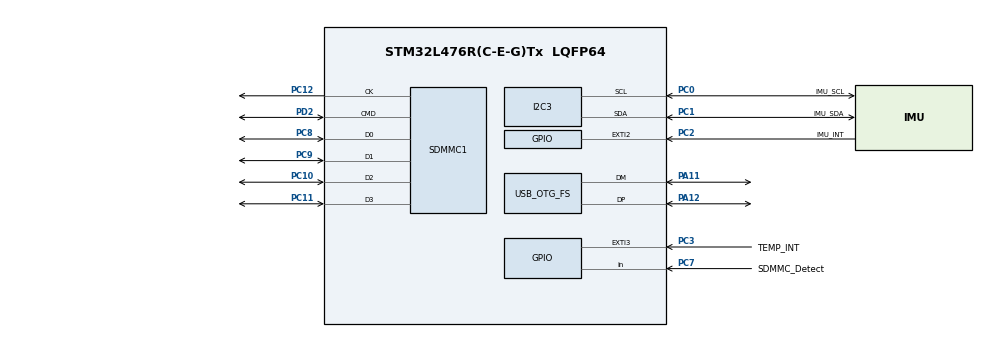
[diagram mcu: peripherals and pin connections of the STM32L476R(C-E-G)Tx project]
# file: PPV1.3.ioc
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Dma.Request0=SDMMC1
Dma.SDMMC1.0.Direction=DMA_PERIPH_TO_MEMORY
Dma.SDMMC1.0.Instance=DMA2_Channel4
Dma.SDMMC1.0.MemDataAlignment=DMA_MDATAALIGN_WORD
Dma.SDMMC1.0.MemInc=DMA_MINC_ENABLE
Dma.SDMMC1.0.Mode=DMA_NORMAL
Dma.SDMMC1.0.PeriphDataAlignment=DMA_PDATAALIGN_WORD
Dma.SDMMC1.0.PeriphInc=DMA_PINC_DISABLE
Dma.SDMMC1.0.Priority=DMA_PRIORITY_HIGH
FATFS.BSP.number=1
FATFS.USE_DMA_CODE_SD=1
FATFS0.BSP.STBoard=false
FATFS0.BSP.api=Unknown
FATFS0.BSP.instance=PC7
FATFS0.BSP.ip=GPIO
FATFS0.BSP.mode=Input
FATFS0.BSP.name=Detect_SDIO
FATFS0.BSP.solution=PC7
I2C3.CustomTiming=Disabled
I2C3.Timing=0x20303E5D
Mcu.Family=STM32L4
Mcu.Name=STM32L476R(C-E-G)Tx
Mcu.Package=LQFP64
NVIC.DMA2_Channel4_IRQn=true\:0\:0\:false\:false\:true\:false\:true\:true
NVIC.EXTI2_IRQn=true\:0\:0\:false\:false\:true\:true\:true\:true
NVIC.EXTI3_IRQn=true\:0\:0\:false\:false\:true\:true\:true\:true
NVIC.OTG_FS_IRQn=true\:0\:0\:false\:false\:true\:false\:true\:true
NVIC.PriorityGroup=NVIC_PRIORITYGROUP_4
NVIC.SDMMC1_IRQn=true\:0\:0\:false\:false\:true\:true\:true\:true
PA11.Mode=Device_Only
PA11.Signal=USB_OTG_FS_DM
PA12.Mode=Device_Only
PA12.Signal=USB_OTG_FS_DP
PA13\ (JTMS-SWDIO).Mode=Serial_Wire
PA13\ (JTMS-SWDIO).Signal=SYS_JTMS-SWDIO
PA14\ (JTCK-SWCLK).Mode=Serial_Wire
PA14\ (JTCK-SWCLK).Signal=SYS_JTCK-SWCLK
PC0.GPIO_Label=IMU_SCL
PC0.Mode=I2C
PC0.Signal=I2C3_SCL
PC1.GPIO_Label=IMU_SDA
PC1.Mode=I2C
PC1.Signal=I2C3_SDA
PC10.Mode=SD_4_bits_Wide_bus
PC10.Signal=SDMMC1_D2
PC11.Mode=SD_4_bits_Wide_bus
PC11.Signal=SDMMC1_D3
PC12.Mode=SD_4_bits_Wide_bus
PC12.Signal=SDMMC1_CK
PC2.GPIO_Label=IMU_INT
PC2.GPIO_PuPd=GPIO_NOPULL
PC2.Signal=GPXTI2
PC3.GPIO_Label=TEMP_INT
PC3.GPIO_ModeDefaultEXTI=GPIO_MODE_IT_FALLING
PC3.Signal=GPXTI3
PC7.GPIO_Label=SDMMC_Detect
PC7.GPIO_PuPd=GPIO_PULLDOWN
PC7.Signal=GPIO_Input
PC8.GPIO_PuPd=GPIO_NOPULL
PC8.Mode=SD_4_bits_Wide_bus
PC8.Signal=SDMMC1_D0
PC9.Mode=SD_4_bits_Wide_bus
PC9.Signal=SDMMC1_D1
PD2.GPIO_PuPd=GPIO_NOPULL
PD2.Mode=SD_4_bits_Wide_bus
PD2.Signal=SDMMC1_CMD
PH0-OSC_IN\ (PH0).Mode=HSE-External-Oscillator
PH0-OSC_IN\ (PH0).Signal=RCC_OSC_IN
PH1-OSC_OUT\ (PH1).Mode=HSE-External-Oscillator
PH1-OSC_OUT\ (PH1).Signal=RCC_OSC_OUT
ProjectManager.HeapSize=0x400
ProjectManager.StackSize=0x800
ProjectManager.TargetToolchain=STM32CubeIDE
RCC.ADCFreq_Value=48000000
RCC.AHBFreq_Value=48000000
RCC.APB1Freq_Value=48000000
RCC.APB1TimFreq_Value=48000000
RCC.APB2Freq_Value=48000000
RCC.APB2TimFreq_Value=48000000
RCC.CK48CLockSelection=RCC_USBCLKSOURCE_PLL
RCC.CortexFreq_Value=48000000
RCC.HCLKFreq_Value=48000000
RCC.HSE_VALUE=12000000
RCC.HSI_VALUE=16000000
RCC.LSE_VALUE=32768
RCC.MSI_VALUE=4000000
RCC.PLLSourceVirtual=RCC_PLLSOURCE_HSE
RCC.SYSCLKFreq_VALUE=48000000
RCC.SYSCLKSource=RCC_SYSCLKSOURCE_PLLCLK
RCC.USBFreq_Value=48000000
RCC.VCOOutputFreq_Value=96000000
RTC.Format=RTC_FORMAT_BIN
SDMMC1.ClockDiv=1
USB_DEVICE.CLASS_NAME_FS=CDC
USB_DEVICE.PRODUCT_STRING_CDC_FS=PawPrint Sensor
USB_DEVICE.VirtualMode=Cdc
USB_DEVICE.VirtualModeFS=Cdc_FS
USB_OTG_FS.VirtualMode=Device_Only
VP_FATFS_VS_SDIO.Mode=SDIO
VP_RTC_VS_RTC_Activate.Mode=RTC_Enabled
VP_RTC_VS_RTC_Calendar.Mode=RTC_Calendar
VP_USB_DEVICE_VS_USB_DEVICE_CDC_FS.Mode=CDC_FS
board=custom

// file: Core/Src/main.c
/* USER CODE BEGIN Header */
/**
  ******************************************************************************
  * @file           : main.c
  * @brief          : Main program body
  ******************************************************************************
  * @attention
  *
  * Copyright (c) 2023 STMicroelectronics.
  * All rights reserved.
  *
  * This software is licensed under terms that can be found in the LICENSE file
  * in the root directory of this software component.
  * If no LICENSE file comes with this software, it is provided AS-IS.
  *
  ******************************************************************************
  */
/* USER CODE END Header */
#include "main.h"
#include "fatfs.h"
#include "usb_device.h"

/* USER CODE BEGIN Includes */
#include "usbd_cdc_if.h"
#include "stdalign.h"
#include "string.h"
#include "lsm6dso.h"
#include "lis2mdl.h"
#include "stts751.h"
#include "pawprint.h"
/* USER CODE END Includes */

I2C_HandleTypeDef hi2c3;

RTC_HandleTypeDef hrtc;

SD_HandleTypeDef hsd1;
DMA_HandleTypeDef hdma_sdmmc1;

/* USER CODE BEGIN PV */
uint8_t LSM6DSO_FIFO_RDY;
uint8_t OVERTEMP;

static volatile char buffer[40000];
//static char writeBuff[32000];
//static char tempBuff[8000];
static int writeIndex = 0;
static int maxoutLength = 0;
static int tag_counter = 0;
static sensor_out FIFOout = {0};
unsigned int byteCount = 0;
unsigned int writeNum = 0;

FRESULT mountStatus;
FRESULT volMakeStatus;
FRESULT fileCreateStatus;
uint8_t rtext[_MAX_SS];
/* USER CODE END PV */

void SystemClock_Config(void);
static void MX_GPIO_Init(void);
static void MX_DMA_Init(void);
static void MX_I2C3_Init(void);
static void MX_SDMMC1_SD_Init(void);
static void MX_RTC_Init(void);

/* USER CODE BEGIN 0 */
uint8_t inBuff[64];

void HAL_GPIO_EXTI_Callback(uint16_t GPIO_Pin){

//	// Over Temp gets priority
//	if (GPIO_Pin == TEMP_INT_Pin){
//
//		OVERTEMP = 1;
//
//		// Reset All Tags / Emergency shut down
//
//	}
//	else if (GPIO_Pin == IMU_INT_Pin){
//
//		LSM6DSO_FIFO_RDY = 1;
//
//	}
}

/* USER CODE END 0 */

int main(void)
{

  /* MCU Configuration--------------------------------------------------------*/

  /* Reset of all peripherals, Initializes the Flash interface and the Systick. */
  HAL_Init();

  /* Configure the system clock */
  SystemClock_Config();

  /* Initialize all configured peripherals */
  MX_GPIO_Init();
  MX_DMA_Init();
  MX_I2C3_Init();
  MX_SDMMC1_SD_Init();
  MX_USB_DEVICE_Init();
  MX_RTC_Init();
  MX_FATFS_Init();

  /* USER CODE BEGIN 2 */
  int attempts = 0;
  mountStatus = f_mount(&SDFatFS, (TCHAR const*)SDPath, 1);
  while ( mountStatus != FR_OK && attempts < 3){
	  mountStatus = f_mount(&SDFatFS, (TCHAR const*)SDPath, 1);
  }

 HAL_Delay(500);

  volMakeStatus = f_mkfs((TCHAR const*)SDPath, FM_ANY, 0, rtext, sizeof(rtext));
  if ( volMakeStatus != FR_OK){
	  Error_Handler();
  }
  HAL_Delay(500);

  fileCreateStatus = f_open(&SDFile, "Out.csv", FA_CREATE_ALWAYS | FA_WRITE);
  if ( fileCreateStatus != FR_OK){
	  Error_Handler();
  }

  maxoutLength = snprintf((char *) &buffer[writeIndex],40000-writeIndex ,"TimeStamp,XL_X,XL_Y,XL_Z,GYR_X,GYR_Y,GYR_Z,MAG_X,MAG_Y,MAG_Z\n");
  writeIndex += maxoutLength;

  //f_printf(&SDFile,"TimeStamp,XL_X,XL_Y,XL_Z,GYR_X,GYR_Y,GYR_Z,MAG_X,MAG_Y,MAG_Z\n");
  //f_sync( &SDFile );
  //f_close(&SDFile);
  //f_open(&SDFile, "Out.csv", FA_OPEN_APPEND | FA_WRITE);

  /* Search for connection via USB */
  /* Once Received proceed to init and data collection */

  // Initialise Sensor
  pawprint_init(&hi2c3);

  LSM6DSO_FIFO_RDY = 0;
  /* USER CODE END 2 */

  /* Infinite loop */
  while (1)
  {

    /* USER CODE BEGIN 3 */

	  if ( OVERTEMP == 1){
		  HAL_PWREx_EnterSHUTDOWNMode(); // Future iterations should have physical control here - skip MCU and cut power from battery with Temp_INT
	  }

	  pawprint_readFIFO(&hi2c3, (char *) buffer, &writeIndex, &maxoutLength, &tag_counter, &FIFOout); // Combine some features input here into structs for simplicity

	  // Check buffer fill
	  if (writeIndex >= 32768){

		 // memset(writeBuff, '\0', (size_t) 32000);
		//  memcpy(writeBuff, (char *)&buffer, (size_t) 32000);

		 // f_write(&SDFile, writeBuff, (size_t) 32000, &byteCount);

		  f_write(&SDFile, (char *)&buffer, (size_t) 32768, &byteCount);

		  // Copy end of buffer to beginning and clear
		  //memcpy(tempBuff,(char *) &buffer[32000],(size_t) 8000);
		  //memset((char *) &buffer[0], '\0', sizeof(buffer));
		  //memcpy((char *) &buffer, tempBuff,(size_t) 8000);
		  //memset(&tempBuff[0], '\0', sizeof(tempBuff));
		  size_t overBuff = strlen((char *) &buffer[32768]);
		  memcpy((char *) &buffer[0],(char *) &buffer[32768], overBuff);
		  memset((char *) &buffer[overBuff], '\0', sizeof(buffer)-overBuff);
		  // Set writeIndex to remainder length
		  writeIndex -= byteCount;
		  writeNum++;

		  // fsync every ~1MB to ensure SD buffer is being written
		  if( writeNum >= 3){

			  f_close(&SDFile);
			  f_open(&SDFile, "Out.csv", FA_OPEN_APPEND | FA_WRITE);

			 //f_sync(&SDFile);

			 writeNum = 0;
		  }

		  // fclose needs adding when time functionality added

	  }

  }

	  /* USER CODE END 3 */
	}

	/**
	  * @brief System Clock Configuration
	  * @retval None
	  */
	void SystemClock_Config(void)
	{
	  RCC_OscInitTypeDef RCC_OscInitStruct = {0};
	  RCC_ClkInitTypeDef RCC_ClkInitStruct = {0};

	  /** Configure the main internal regulator output voltage
	  */
	  if (HAL_PWREx_ControlVoltageScaling(PWR_REGULATOR_VOLTAGE_SCALE1) != HAL_OK)
	  {
	    Error_Handler();
	  }

	  /** Initializes the RCC Oscillators according to the specified parameters
	  * in the RCC_OscInitTypeDef structure.
	  */
	  RCC_OscInitStruct.OscillatorType = RCC_OSCILLATORTYPE_LSI|RCC_OSCILLATORTYPE_HSE;
	  RCC_OscInitStruct.HSEState = RCC_HSE_ON;
	  RCC_OscInitStruct.LSIState = RCC_LSI_ON;
	  RCC_OscInitStruct.PLL.PLLState = RCC_PLL_ON;
	  RCC_OscInitStruct.PLL.PLLSource = RCC_PLLSOURCE_HSE;
	  RCC_OscInitStruct.PLL.PLLM = 1;
	  RCC_OscInitStruct.PLL.PLLN = 8;
	  RCC_OscInitStruct.PLL.PLLP = RCC_PLLP_DIV7;
	  RCC_OscInitStruct.PLL.PLLQ = RCC_PLLQ_DIV2;
	  RCC_OscInitStruct.PLL.PLLR = RCC_PLLR_DIV2;
	  if (HAL_RCC_OscConfig(&RCC_OscInitStruct) != HAL_OK)
	  {
	    Error_Handler();
	  }

	  /** Initializes the CPU, AHB and APB buses clocks
	  */
	  RCC_ClkInitStruct.ClockType = RCC_CLOCKTYPE_HCLK|RCC_CLOCKTYPE_SYSCLK
	                              |RCC_CLOCKTYPE_PCLK1|RCC_CLOCKTYPE_PCLK2;
	  RCC_ClkInitStruct.SYSCLKSource = RCC_SYSCLKSOURCE_PLLCLK;
	  RCC_ClkInitStruct.AHBCLKDivider = RCC_SYSCLK_DIV1;
	  RCC_ClkInitStruct.APB1CLKDivider = RCC_HCLK_DIV1;
	  RCC_ClkInitStruct.APB2CLKDivider = RCC_HCLK_DIV1;

	  if (HAL_RCC_ClockConfig(&RCC_ClkInitStruct, FLASH_LATENCY_2) != HAL_OK)
	  {
	    Error_Handler();
	  }
	}

	/**
	  * @brief I2C3 Initialization Function
	  * @param None
	  * @retval None
	  */
	static void MX_I2C3_Init(void)
	{

	  hi2c3.Instance = I2C3;
	  hi2c3.Init.Timing = 0x20303E5D;
	  hi2c3.Init.OwnAddress1 = 0;
	  hi2c3.Init.AddressingMode = I2C_ADDRESSINGMODE_7BIT;
	  hi2c3.Init.DualAddressMode = I2C_DUALADDRESS_DISABLE;
	  hi2c3.Init.OwnAddress2 = 0;
	  hi2c3.Init.OwnAddress2Masks = I2C_OA2_NOMASK;
	  hi2c3.Init.GeneralCallMode = I2C_GENERALCALL_DISABLE;
	  hi2c3.Init.NoStretchMode = I2C_NOSTRETCH_DISABLE;
	  if (HAL_I2C_Init(&hi2c3) != HAL_OK)
	  {
	    Error_Handler();
	  }

	  /** Configure Analogue filter
	  */
	  if (HAL_I2CEx_ConfigAnalogFilter(&hi2c3, I2C_ANALOGFILTER_ENABLE) != HAL_OK)
	  {
	    Error_Handler();
	  }

	  /** Configure Digital filter
	  */
	  if (HAL_I2CEx_ConfigDigitalFilter(&hi2c3, 0) != HAL_OK)
	  {
	    Error_Handler();
	  }

	}

	/**
	  * @brief RTC Initialization Function
	  * @param None
	  * @retval None
	  */
	static void MX_RTC_Init(void)
	{

	  RTC_TimeTypeDef sTime = {0};
	  RTC_DateTypeDef sDate = {0};

	  /** Initialize RTC Only
	  */
	  hrtc.Instance = RTC;
	  hrtc.Init.HourFormat = RTC_HOURFORMAT_24;
	  hrtc.Init.AsynchPrediv = 127;
	  hrtc.Init.SynchPrediv = 255;
	  hrtc.Init.OutPut = RTC_OUTPUT_DISABLE;
	  hrtc.Init.OutPutRemap = RTC_OUTPUT_REMAP_NONE;
	  hrtc.Init.OutPutPolarity = RTC_OUTPUT_POLARITY_HIGH;
	  hrtc.Init.OutPutType = RTC_OUTPUT_TYPE_OPENDRAIN;
	  if (HAL_RTC_Init(&hrtc) != HAL_OK)
	  {
	    Error_Handler();
	  }

	  /** Initialize RTC and set the Time and Date
	  */
	  sTime.Hours = 0;
	  sTime.Minutes = 0;
	  sTime.Seconds = 0;
	  sTime.DayLightSaving = RTC_DAYLIGHTSAVING_NONE;
	  sTime.StoreOperation = RTC_STOREOPERATION_RESET;
	  if (HAL_RTC_SetTime(&hrtc, &sTime, RTC_FORMAT_BIN) != HAL_OK)
	  {
	    Error_Handler();
	  }
	  sDate.WeekDay = RTC_WEEKDAY_MONDAY;
	  sDate.Month = RTC_MONTH_JANUARY;
	  sDate.Date = 1;
	  sDate.Year = 0;

	  if (HAL_RTC_SetDate(&hrtc, &sDate, RTC_FORMAT_BIN) != HAL_OK)
	  {
	    Error_Handler();
	  }

	}

	/**
	  * @brief SDMMC1 Initialization Function
	  * @param None
	  * @retval None
	  */
	static void MX_SDMMC1_SD_Init(void)
	{

	  hsd1.Instance = SDMMC1;
	  hsd1.Init.ClockEdge = SDMMC_CLOCK_EDGE_RISING;
	  hsd1.Init.ClockBypass = SDMMC_CLOCK_BYPASS_DISABLE;
	  hsd1.Init.ClockPowerSave = SDMMC_CLOCK_POWER_SAVE_DISABLE;
	  hsd1.Init.BusWide = SDMMC_BUS_WIDE_1B;
	  hsd1.Init.HardwareFlowControl = SDMMC_HARDWARE_FLOW_CONTROL_DISABLE;
	  hsd1.Init.ClockDiv = 1;
	  /* USER CODE BEGIN SDMMC1_Init 2 */
	  hsd1.Init.BusWide = SDMMC_BUS_WIDE_1B;
	  /* USER CODE END SDMMC1_Init 2 */

	}

	/**
	  * Enable DMA controller clock
	  */
	static void MX_DMA_Init(void)
	{

	  /* DMA controller clock enable */
	  __HAL_RCC_DMA2_CLK_ENABLE();

	  /* DMA interrupt init */
	  /* DMA2_Channel4_IRQn interrupt configuration */
	  HAL_NVIC_SetPriority(DMA2_Channel4_IRQn, 0, 0);
	  HAL_NVIC_EnableIRQ(DMA2_Channel4_IRQn);

	}

	/**
	  * @brief GPIO Initialization Function
	  * @param None
	  * @retval None
	  */
	static void MX_GPIO_Init(void)
	{
	  GPIO_InitTypeDef GPIO_InitStruct = {0};

	  /* GPIO Ports Clock Enable */
	  __HAL_RCC_GPIOH_CLK_ENABLE();
	  __HAL_RCC_GPIOC_CLK_ENABLE();
	  __HAL_RCC_GPIOA_CLK_ENABLE();
	  __HAL_RCC_GPIOD_CLK_ENABLE();

	  /*Configure GPIO pin : IMU_INT_Pin */
	  GPIO_InitStruct.Pin = IMU_INT_Pin;
	  GPIO_InitStruct.Mode = GPIO_MODE_IT_RISING;
	  GPIO_InitStruct.Pull = GPIO_NOPULL;
	  HAL_GPIO_Init(IMU_INT_GPIO_Port, &GPIO_InitStruct);

	  /*Configure GPIO pin : TEMP_INT_Pin */
	  GPIO_InitStruct.Pin = TEMP_INT_Pin;
	  GPIO_InitStruct.Mode = GPIO_MODE_IT_FALLING;
	  GPIO_InitStruct.Pull = GPIO_NOPULL;
	  HAL_GPIO_Init(TEMP_INT_GPIO_Port, &GPIO_InitStruct);

	  /*Configure GPIO pin : SDMMC_Detect_Pin */
	  GPIO_InitStruct.Pin = SDMMC_Detect_Pin;
	  GPIO_InitStruct.Mode = GPIO_MODE_INPUT;
	  GPIO_InitStruct.Pull = GPIO_PULLDOWN;
	  HAL_GPIO_Init(SDMMC_Detect_GPIO_Port, &GPIO_InitStruct);

	  /* EXTI interrupt init*/
	  HAL_NVIC_SetPriority(EXTI2_IRQn, 0, 0);
	  HAL_NVIC_EnableIRQ(EXTI2_IRQn);

	  HAL_NVIC_SetPriority(EXTI3_IRQn, 0, 0);
	  HAL_NVIC_EnableIRQ(EXTI3_IRQn);

	}

	/**
	  * @brief  This function is executed in case of error occurrence.
	  * @retval None
	  */
	void Error_Handler(void)
	{
	  __disable_irq();
	  while (1)
	  {
	  }
	}

	#ifdef  USE_FULL_ASSERT
	/**
	  * @brief  Reports the name of the source file and the source line number
	  *         where the assert_param error has occurred.
	  * @param  file: pointer to the source file name
	  * @param  line: assert_param error line source number
	  * @retval None
	  */
	void assert_failed(uint8_t *file, uint32_t line)
	{
	}
	#endif /* USE_FULL_ASSERT */
